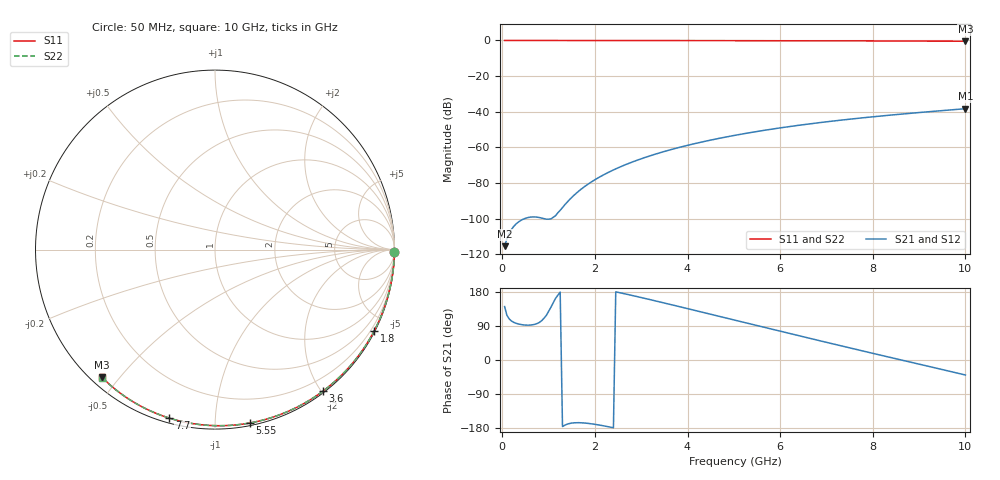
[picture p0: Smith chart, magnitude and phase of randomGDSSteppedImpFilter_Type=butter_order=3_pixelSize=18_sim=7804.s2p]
! freq	dB(S11)	phase(S11)	dB(S12)	phase(S12)
!  dB(S21)	phase(S21)	dB(S22)	phase(S22)
!S-par simulation data
#  GHz  S  DB  R 50
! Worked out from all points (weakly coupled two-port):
!   200 points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, 50 MHz to 10 GHz, reference 50 ohm
!   highest |S21| = -38.30 dB at 10 GHz (marker M1); lowest = -115.4 dB at 50 MHz (marker M2)
!   lowest |S11| = -0.4 dB at 10 GHz (marker M3), VSWR 38.97, Z = 1.54 - j22.5 ohm
!   |S11| at or under -10 dB: nowhere
!   |S22| runs from -0.4 to 0.0 dB; largest |S21 - S12| = 0
!   S11 on the Smith chart (normalised r, x): 50 MHz: open; 1.8 GHz: 0.04, -4.17; 3.6 GHz: 0.02, -2.02; 5.55 GHz: 0.02, -1.22; 7.7 GHz: 0.02, -0.77; 10 GHz: 0.03, -0.45
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0.05  -0.00 -0.8  -115.42 140.9  -115.42 140.9  -0.00 -0.8
0.45  -0.01 -6.8  -100.30 92.7  -100.30 92.7  -0.01 -6.8
0.9  -0.02 -13.6  -100.00 110.1  -100.00 110.1  -0.02 -13.6
1.75  -0.03 -26.2  -82.50 -166.0  -82.50 -166.0  -0.03 -26.2
1.8  -0.03 -27.0  -81.55 -166.6  -81.55 -166.6  -0.03 -26.9
1.9  -0.04 -28.4  -79.78 -168.0  -79.78 -168.0  -0.04 -28.4
2.05  -0.04 -30.6  -77.37 -170.7  -77.37 -170.7  -0.04 -30.6
2.25  -0.04 -33.5  -74.54 -175.2  -74.54 -175.2  -0.04 -33.5
2.45  -0.05 -36.4  -72.04 179.9  -72.04 179.9  -0.05 -36.3
2.65  -0.05 -39.3  -69.81 174.6  -69.81 174.6  -0.05 -39.2
3  -0.06 -44.3  -66.38 164.8  -66.38 164.8  -0.06 -44.2
3.4  -0.07 -49.9  -63.03 153.3  -63.03 153.3  -0.07 -49.8
3.6  -0.07 -52.7  -61.54 147.4  -61.54 147.4  -0.07 -52.6
4.3  -0.09 -62.3  -57.02 126.7  -57.02 126.7  -0.09 -62.2
5.05  -0.11 -72.3  -53.09 104.3  -53.09 104.3  -0.11 -72.1
5.55  -0.13 -78.7  -50.86 89.4  -50.86 89.4  -0.13 -78.6
6.1  -0.15 -85.7  -48.69 73.1  -48.69 73.1  -0.15 -85.5
6.7  -0.18 -93.1  -46.59 55.4  -46.59 55.4  -0.18 -92.9
7.7  -0.24 -105.1  -43.62 26.2  -43.62 26.2  -0.24 -104.9
8.35  -0.29 -112.7  -41.96 7.6  -41.96 7.6  -0.29 -112.5
9.15  -0.36 -121.9  -40.11 -15.2  -40.11 -15.2  -0.35 -121.6
10  -0.45 -131.5  -38.30 -39.5  -38.30 -39.5  -0.43 -131.3
